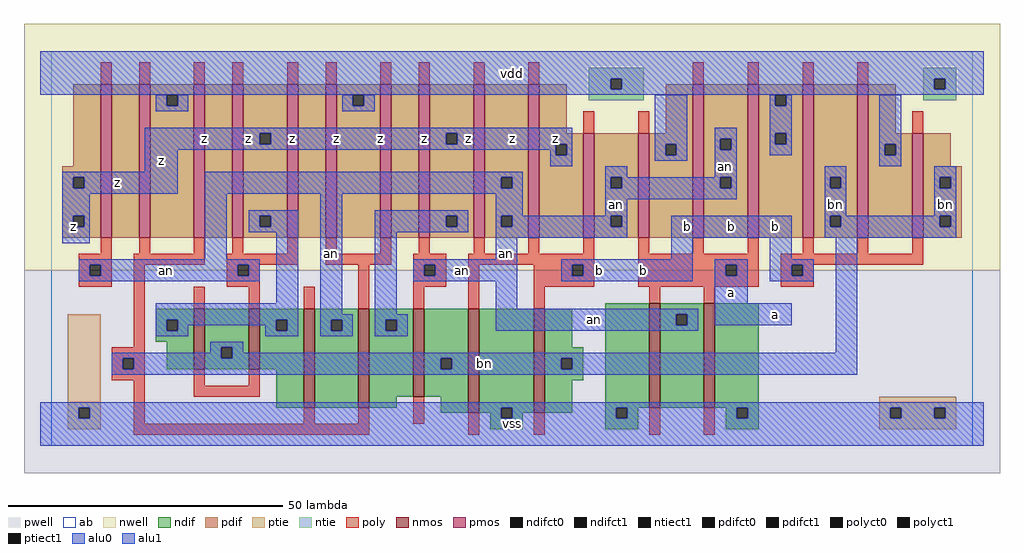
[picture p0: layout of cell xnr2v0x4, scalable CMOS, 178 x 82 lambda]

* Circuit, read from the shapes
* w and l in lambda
.subckt xnr2v0x4 a an b bn vdd vss z
M1 bn an z vss nfet w=11 l=2 m=2
M2 an bn z vss nfet w=18 l=2 m=2
M3 bn an z vss nfet w=16 l=2
M4 vss b bn vss nfet w=19 l=2 m=2
M5 an a vss vss nfet w=19 l=2 m=2
M6 n1 an z vdd pfet w=28 l=2
M7 vdd bn n1 vdd pfet w=28 l=2
M8 n2 bn vdd vdd pfet w=28 l=2
M9 z an n2 vdd pfet w=28 l=2
M10 n3 an z vdd pfet w=28 l=2
M11 vdd bn n3 vdd pfet w=28 l=2
M12 n4 bn vdd vdd pfet w=28 l=2
M13 z an n4 vdd pfet w=28 l=2
M14 an b z vdd pfet w=28 l=2 m=2
M15 an b z vdd pfet w=19 l=2
M16 vdd a an vdd pfet w=19 l=2
M17 an a vdd vdd pfet w=28 l=2 m=2
M18 bn b vdd vdd pfet w=28 l=2 m=2
M19 bn b vdd vdd pfet w=19 l=2
.ends

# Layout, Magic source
magic
tech scmos
<< ab >>
rect 0 0 168 72
<< nwell >>
rect -5 32 173 77
<< pwell >>
rect -5 -5 173 32
<< poly >>
rect 9 66 11 70
rect 16 66 18 70
rect 26 66 28 70
rect 33 66 35 70
rect 43 66 45 70
rect 50 66 52 70
rect 60 66 62 70
rect 67 66 69 70
rect 77 66 79 70
rect 87 66 89 70
rect 117 66 119 70
rect 127 66 129 70
rect 137 66 139 70
rect 147 66 149 70
rect 97 57 99 61
rect 107 57 109 61
rect 157 57 159 61
rect 9 35 11 38
rect 16 35 18 38
rect 26 35 28 38
rect 33 35 35 38
rect 43 35 45 38
rect 5 33 11 35
rect 5 31 7 33
rect 9 31 11 33
rect 5 29 11 31
rect 15 33 28 35
rect 32 33 45 35
rect 50 35 52 38
rect 60 35 62 38
rect 67 35 69 38
rect 77 35 79 38
rect 87 35 89 38
rect 97 35 99 38
rect 50 33 62 35
rect 66 33 72 35
rect 15 18 17 33
rect 32 31 34 33
rect 36 31 38 33
rect 32 29 38 31
rect 26 25 28 29
rect 36 25 38 29
rect 46 25 48 29
rect 56 25 58 33
rect 66 31 68 33
rect 70 31 72 33
rect 66 29 72 31
rect 76 33 99 35
rect 66 25 68 29
rect 76 25 78 33
rect 88 31 95 33
rect 97 31 99 33
rect 88 29 99 31
rect 107 35 109 38
rect 117 35 119 38
rect 127 35 129 38
rect 137 35 139 38
rect 147 35 149 38
rect 157 35 159 38
rect 107 33 129 35
rect 107 31 123 33
rect 125 31 129 33
rect 107 29 129 31
rect 133 33 159 35
rect 133 31 135 33
rect 137 31 139 33
rect 133 29 139 31
rect 88 25 90 29
rect 109 26 111 29
rect 119 26 121 29
rect 11 16 17 18
rect 11 14 13 16
rect 15 14 17 16
rect 11 12 17 14
rect 15 4 17 12
rect 26 11 28 14
rect 36 11 38 14
rect 26 9 38 11
rect 46 4 48 7
rect 56 4 58 7
rect 66 4 68 9
rect 15 2 58 4
rect 76 2 78 6
rect 88 2 90 6
rect 109 2 111 7
rect 119 2 121 7
<< ndif >>
rect 19 23 26 25
rect 19 21 21 23
rect 23 21 26 23
rect 19 19 26 21
rect 21 14 26 19
rect 28 18 36 25
rect 28 16 31 18
rect 33 16 36 18
rect 28 14 36 16
rect 38 23 46 25
rect 38 21 41 23
rect 43 21 46 23
rect 38 14 46 21
rect 41 7 46 14
rect 48 23 56 25
rect 48 21 51 23
rect 53 21 56 23
rect 48 7 56 21
rect 58 23 66 25
rect 58 21 61 23
rect 63 21 66 23
rect 58 9 66 21
rect 68 16 76 25
rect 68 14 71 16
rect 73 14 76 16
rect 68 9 76 14
rect 58 7 63 9
rect 71 6 76 9
rect 78 7 88 25
rect 78 6 82 7
rect 80 5 82 6
rect 84 6 88 7
rect 90 18 95 25
rect 90 16 97 18
rect 90 14 93 16
rect 95 14 97 16
rect 90 12 97 14
rect 90 6 95 12
rect 101 7 109 26
rect 111 24 119 26
rect 111 22 114 24
rect 116 22 119 24
rect 111 7 119 22
rect 121 7 129 26
rect 84 5 86 6
rect 80 3 86 5
rect 101 5 103 7
rect 105 5 107 7
rect 101 3 107 5
rect 123 5 125 7
rect 127 5 129 7
rect 123 3 129 5
<< pdif >>
rect 4 51 9 66
rect 2 49 9 51
rect 2 47 4 49
rect 6 47 9 49
rect 2 42 9 47
rect 2 40 4 42
rect 6 40 9 42
rect 2 38 9 40
rect 11 38 16 66
rect 18 64 26 66
rect 18 62 21 64
rect 23 62 26 64
rect 18 38 26 62
rect 28 38 33 66
rect 35 57 43 66
rect 35 55 38 57
rect 40 55 43 57
rect 35 42 43 55
rect 35 40 38 42
rect 40 40 43 42
rect 35 38 43 40
rect 45 38 50 66
rect 52 64 60 66
rect 52 62 55 64
rect 57 62 60 64
rect 52 38 60 62
rect 62 38 67 66
rect 69 57 77 66
rect 69 55 72 57
rect 74 55 77 57
rect 69 42 77 55
rect 69 40 72 42
rect 74 40 77 42
rect 69 38 77 40
rect 79 49 87 66
rect 79 47 82 49
rect 84 47 87 49
rect 79 42 87 47
rect 79 40 82 42
rect 84 40 87 42
rect 79 38 87 40
rect 89 57 94 66
rect 112 57 117 66
rect 89 55 97 57
rect 89 53 92 55
rect 94 53 97 55
rect 89 38 97 53
rect 99 49 107 57
rect 99 47 102 49
rect 104 47 107 49
rect 99 42 107 47
rect 99 40 102 42
rect 104 40 107 42
rect 99 38 107 40
rect 109 55 117 57
rect 109 53 112 55
rect 114 53 117 55
rect 109 38 117 53
rect 119 56 127 66
rect 119 54 122 56
rect 124 54 127 56
rect 119 49 127 54
rect 119 47 122 49
rect 124 47 127 49
rect 119 38 127 47
rect 129 64 137 66
rect 129 62 132 64
rect 134 62 137 64
rect 129 57 137 62
rect 129 55 132 57
rect 134 55 137 57
rect 129 38 137 55
rect 139 49 147 66
rect 139 47 142 49
rect 144 47 147 49
rect 139 42 147 47
rect 139 40 142 42
rect 144 40 147 42
rect 139 38 147 40
rect 149 57 154 66
rect 149 55 157 57
rect 149 53 152 55
rect 154 53 157 55
rect 149 38 157 53
rect 159 51 164 57
rect 159 49 166 51
rect 159 47 162 49
rect 164 47 166 49
rect 159 42 166 47
rect 159 40 162 42
rect 164 40 166 42
rect 159 38 166 40
<< alu1 >>
rect -2 67 170 72
rect -2 65 102 67
rect 104 65 161 67
rect 163 65 170 67
rect -2 64 170 65
rect 17 57 95 58
rect 17 55 38 57
rect 40 55 72 57
rect 74 55 95 57
rect 17 54 92 55
rect 17 50 23 54
rect 91 53 92 54
rect 94 53 95 55
rect 91 51 95 53
rect 2 49 23 50
rect 2 47 4 49
rect 6 47 23 49
rect 2 46 23 47
rect 2 42 7 46
rect 2 40 4 42
rect 6 40 7 42
rect 2 37 7 40
rect 113 38 135 42
rect 113 34 117 38
rect 131 34 135 38
rect 93 33 117 34
rect 93 31 95 33
rect 97 31 117 33
rect 93 30 117 31
rect 121 33 127 34
rect 121 31 123 33
rect 125 31 127 33
rect 121 26 127 31
rect 131 33 139 34
rect 131 31 135 33
rect 137 31 139 33
rect 131 30 139 31
rect 121 22 135 26
rect -2 7 170 8
rect -2 5 5 7
rect 7 5 82 7
rect 84 5 103 7
rect 105 5 125 7
rect 127 5 153 7
rect 155 5 161 7
rect 163 5 170 7
rect -2 0 170 5
<< ptie >>
rect 3 7 9 24
rect 3 5 5 7
rect 7 5 9 7
rect 3 3 9 5
rect 151 7 165 9
rect 151 5 153 7
rect 155 5 161 7
rect 163 5 165 7
rect 151 3 165 5
<< ntie >>
rect 98 67 108 69
rect 98 65 102 67
rect 104 65 108 67
rect 159 67 165 69
rect 98 63 108 65
rect 159 65 161 67
rect 163 65 165 67
rect 159 63 165 65
<< nmos >>
rect 26 14 28 25
rect 36 14 38 25
rect 46 7 48 25
rect 56 7 58 25
rect 66 9 68 25
rect 76 6 78 25
rect 88 6 90 25
rect 109 7 111 26
rect 119 7 121 26
<< pmos >>
rect 9 38 11 66
rect 16 38 18 66
rect 26 38 28 66
rect 33 38 35 66
rect 43 38 45 66
rect 50 38 52 66
rect 60 38 62 66
rect 67 38 69 66
rect 77 38 79 66
rect 87 38 89 66
rect 97 38 99 57
rect 107 38 109 57
rect 117 38 119 66
rect 127 38 129 66
rect 137 38 139 66
rect 147 38 149 66
rect 157 38 159 57
<< polyct0 >>
rect 7 31 9 33
rect 34 31 36 33
rect 68 31 70 33
rect 13 14 15 16
<< polyct1 >>
rect 95 31 97 33
rect 123 31 125 33
rect 135 31 137 33
<< ndifct0 >>
rect 21 21 23 23
rect 31 16 33 18
rect 41 21 43 23
rect 51 21 53 23
rect 61 21 63 23
rect 71 14 73 16
rect 93 14 95 16
rect 114 22 116 24
<< ndifct1 >>
rect 82 5 84 7
rect 103 5 105 7
rect 125 5 127 7
<< ntiect1 >>
rect 102 65 104 67
rect 161 65 163 67
<< ptiect1 >>
rect 5 5 7 7
rect 153 5 155 7
rect 161 5 163 7
<< pdifct0 >>
rect 21 62 23 64
rect 38 40 40 42
rect 55 62 57 64
rect 72 40 74 42
rect 82 47 84 49
rect 82 40 84 42
rect 102 47 104 49
rect 102 40 104 42
rect 112 53 114 55
rect 122 54 124 56
rect 122 47 124 49
rect 132 62 134 64
rect 132 55 134 57
rect 142 47 144 49
rect 142 40 144 42
rect 152 53 154 55
rect 162 47 164 49
rect 162 40 164 42
<< pdifct1 >>
rect 4 47 6 49
rect 4 40 6 42
rect 38 55 40 57
rect 72 55 74 57
rect 92 53 94 55
<< alu0 >>
rect 19 62 21 64
rect 23 62 25 64
rect 19 61 25 62
rect 53 62 55 64
rect 57 62 59 64
rect 53 61 59 62
rect 110 55 116 64
rect 131 62 132 64
rect 134 62 135 64
rect 110 53 112 55
rect 114 53 116 55
rect 110 52 116 53
rect 121 56 125 58
rect 121 54 122 56
rect 124 54 125 56
rect 28 49 86 50
rect 28 47 82 49
rect 84 47 86 49
rect 28 46 86 47
rect 28 34 32 46
rect 36 42 45 43
rect 36 40 38 42
rect 40 40 45 42
rect 36 39 45 40
rect 5 33 38 34
rect 5 31 7 33
rect 9 31 34 33
rect 36 31 38 33
rect 5 30 38 31
rect 41 26 45 39
rect 19 23 45 26
rect 19 21 21 23
rect 23 22 41 23
rect 23 21 25 22
rect 19 20 25 21
rect 39 21 41 22
rect 43 21 45 23
rect 39 20 45 21
rect 49 24 53 46
rect 59 42 76 43
rect 59 40 72 42
rect 74 40 76 42
rect 59 39 76 40
rect 81 42 86 46
rect 101 49 105 51
rect 121 49 125 54
rect 131 57 135 62
rect 131 55 132 57
rect 134 55 135 57
rect 131 53 135 55
rect 151 55 155 64
rect 151 53 152 55
rect 154 53 155 55
rect 151 51 155 53
rect 101 47 102 49
rect 104 47 122 49
rect 124 47 125 49
rect 101 45 125 47
rect 141 49 145 51
rect 141 47 142 49
rect 144 47 145 49
rect 101 42 105 45
rect 141 42 145 47
rect 161 49 165 51
rect 161 47 162 49
rect 164 47 165 49
rect 161 42 165 47
rect 81 40 82 42
rect 84 40 102 42
rect 104 40 105 42
rect 59 24 63 39
rect 81 38 105 40
rect 141 40 142 42
rect 144 40 162 42
rect 164 40 165 42
rect 141 38 165 40
rect 81 34 85 38
rect 66 33 85 34
rect 66 31 68 33
rect 70 31 85 33
rect 66 30 85 31
rect 81 25 85 30
rect 81 24 118 25
rect 49 23 55 24
rect 49 21 51 23
rect 53 21 55 23
rect 49 20 55 21
rect 59 23 65 24
rect 59 21 61 23
rect 63 21 65 23
rect 81 22 114 24
rect 116 22 118 24
rect 81 21 118 22
rect 59 20 65 21
rect 29 18 35 19
rect 29 17 31 18
rect 11 16 31 17
rect 33 17 35 18
rect 143 17 147 38
rect 33 16 147 17
rect 11 14 13 16
rect 15 14 71 16
rect 73 14 93 16
rect 95 14 147 16
rect 11 13 147 14
<< labels >>
rlabel alu0 21 32 21 32 6 an
rlabel alu0 51 35 51 35 6 an
rlabel alu0 99 23 99 23 6 an
rlabel alu0 75 32 75 32 6 an
rlabel alu0 103 44 103 44 6 an
rlabel alu0 83 35 83 35 6 an
rlabel alu0 79 15 79 15 6 bn
rlabel alu0 163 44 163 44 6 bn
rlabel alu0 143 44 143 44 6 bn
rlabel alu0 123 51 123 51 6 an
rlabel alu1 4 40 4 40 6 z
rlabel alu1 20 52 20 52 6 z
rlabel alu1 12 48 12 48 6 z
rlabel alu1 28 56 28 56 6 z
rlabel alu1 36 56 36 56 6 z
rlabel alu1 60 56 60 56 6 z
rlabel alu1 52 56 52 56 6 z
rlabel alu1 76 56 76 56 6 z
rlabel alu1 68 56 68 56 6 z
rlabel alu1 44 56 44 56 6 z
rlabel alu1 84 4 84 4 6 vss
rlabel alu1 100 32 100 32 6 b
rlabel alu1 108 32 108 32 6 b
rlabel alu1 124 28 124 28 6 a
rlabel alu1 116 40 116 40 6 b
rlabel alu1 124 40 124 40 6 b
rlabel alu1 92 56 92 56 6 z
rlabel alu1 84 56 84 56 6 z
rlabel alu1 84 68 84 68 6 vdd
rlabel alu1 132 24 132 24 6 a
rlabel alu1 132 40 132 40 6 b
<< end >>
